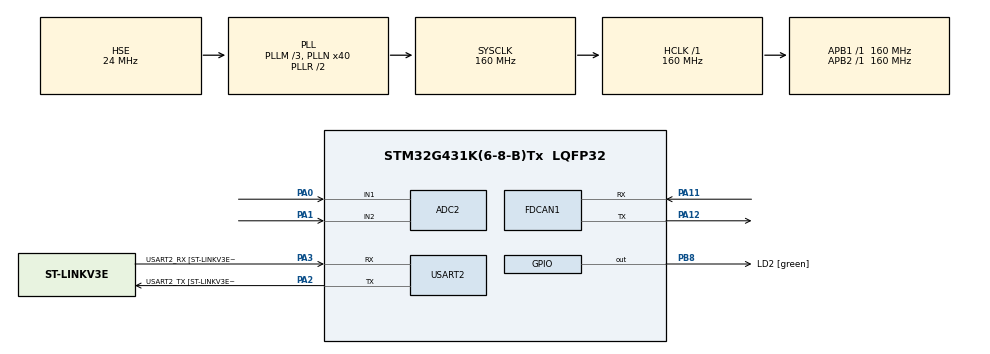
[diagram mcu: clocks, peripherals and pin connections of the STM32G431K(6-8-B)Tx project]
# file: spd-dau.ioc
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ADC2.Channel-0\#ChannelRegularConversion=ADC_CHANNEL_1
ADC2.Channel-1\#ChannelRegularConversion=ADC_CHANNEL_2
ADC2.ContinuousConvMode=ENABLE
ADC2.DMAContinuousRequests=ENABLE
ADC2.ExternalTrigConv=ADC_SOFTWARE_START
ADC2.NbrOfConversion=2
ADC2.NbrOfConversionFlag=1
ADC2.OffsetNumber-0\#ChannelRegularConversion=ADC_OFFSET_NONE
ADC2.OffsetNumber-1\#ChannelRegularConversion=ADC_OFFSET_NONE
ADC2.Rank-0\#ChannelRegularConversion=1
ADC2.Rank-1\#ChannelRegularConversion=2
ADC2.SamplingTime-0\#ChannelRegularConversion=ADC_SAMPLETIME_2CYCLES_5
ADC2.SamplingTime-1\#ChannelRegularConversion=ADC_SAMPLETIME_2CYCLES_5
Dma.ADC2.0.Direction=DMA_PERIPH_TO_MEMORY
Dma.ADC2.0.EventEnable=DISABLE
Dma.ADC2.0.Instance=DMA1_Channel1
Dma.ADC2.0.MemDataAlignment=DMA_MDATAALIGN_HALFWORD
Dma.ADC2.0.MemInc=DMA_MINC_ENABLE
Dma.ADC2.0.Mode=DMA_CIRCULAR
Dma.ADC2.0.PeriphDataAlignment=DMA_PDATAALIGN_HALFWORD
Dma.ADC2.0.PeriphInc=DMA_PINC_DISABLE
Dma.ADC2.0.Polarity=HAL_DMAMUX_REQ_GEN_RISING
Dma.ADC2.0.Priority=DMA_PRIORITY_LOW
Dma.ADC2.0.RequestNumber=1
Dma.ADC2.0.SignalID=NONE
Dma.ADC2.0.SyncEnable=DISABLE
Dma.ADC2.0.SyncPolarity=HAL_DMAMUX_SYNC_NO_EVENT
Dma.ADC2.0.SyncRequestNumber=1
Dma.ADC2.0.SyncSignalID=NONE
Dma.Request0=ADC2
FDCAN1.CalculateBaudRateNominal=500000
FDCAN1.CalculateTimeBitNominal=2000
FDCAN1.CalculateTimeQuantumNominal=6.25
FDCAN1.ClockDivider=FDCAN_CLOCK_DIV1
FDCAN1.FrameFormat=FDCAN_FRAME_CLASSIC
FDCAN1.Mode=FDCAN_MODE_NORMAL
FDCAN1.NominalPrescaler=1
FDCAN1.NominalTimeSeg1=239
FDCAN1.NominalTimeSeg2=80
FDCAN1.StdFiltersNbr=1
Mcu.Family=STM32G4
Mcu.Name=STM32G431K(6-8-B)Tx
Mcu.Package=LQFP32
NVIC.DMA1_Channel1_IRQn=true\:0\:0\:false\:false\:true\:false\:true\:true
NVIC.FDCAN1_IT0_IRQn=true\:0\:0\:false\:false\:true\:true\:true\:true
NVIC.PriorityGroup=NVIC_PRIORITYGROUP_4
NVIC.USART2_IRQn=true\:0\:0\:false\:false\:true\:true\:true\:true
PA0.Mode=IN1-Single-Ended
PA0.Signal=ADC2_IN1
PA1.Mode=IN2-Single-Ended
PA1.Signal=ADC2_IN2
PA11.Mode=FDCAN_Activate
PA11.Signal=FDCAN1_RX
PA12.Mode=FDCAN_Activate
PA12.Signal=FDCAN1_TX
PA13.GPIO_Label=T_SWDIO
PA13.Mode=Serial_Wire
PA13.Signal=SYS_JTMS-SWDIO
PA14.GPIO_Label=T_SWCLK
PA14.Mode=Serial_Wire
PA14.Signal=SYS_JTCK-SWCLK
PA2.GPIO_Label=USART2_TX [ST-LINKV3E_VCP_RX]
PA2.Mode=Asynchronous
PA2.Signal=USART2_TX
PA3.GPIO_Label=USART2_RX [ST-LINKV3E_VCP_TX]
PA3.Mode=Asynchronous
PA3.Signal=USART2_RX
PB3.GPIO_Label=T_SWO
PB3.Signal=SYS_JTDO-SWO
PB8-BOOT0.GPIO_Label=LD2 [green]
PB8-BOOT0.Signal=GPIO_Output
PF0-OSC_IN.Mode=HSE-External-Oscillator
PF0-OSC_IN.Signal=RCC_OSC_IN
PF1-OSC_OUT.Mode=HSE-External-Oscillator
PF1-OSC_OUT.Signal=RCC_OSC_OUT
ProjectManager.HeapSize=0x200
ProjectManager.StackSize=0x400
ProjectManager.TargetToolchain=STM32CubeIDE
RCC.ADC12Freq_Value=160000000
RCC.AHBFreq_Value=160000000
RCC.APB1Freq_Value=160000000
RCC.APB1TimFreq_Value=160000000
RCC.APB2Freq_Value=160000000
RCC.APB2TimFreq_Value=160000000
RCC.CortexFreq_Value=160000000
RCC.EXTERNAL_CLOCK_VALUE=12288000
RCC.HCLKFreq_Value=160000000
RCC.HSE_VALUE=24000000
RCC.HSI48_VALUE=48000000
RCC.HSI_VALUE=16000000
RCC.LSE_VALUE=32768
RCC.PLLM=RCC_PLLM_DIV3
RCC.PLLN=40
RCC.PLLSourceVirtual=RCC_PLLSOURCE_HSE
RCC.SYSCLKFreq_VALUE=160000000
RCC.SYSCLKSource=RCC_SYSCLKSOURCE_PLLCLK
RCC.USBFreq_Value=160000000
RCC.VCOOutputFreq_Value=320000000
USART2.VirtualMode-Asynchronous=VM_ASYNC
USART2.WordLength=WORDLENGTH_8B
VP_SYS_VS_DBSignals.Mode=DisableDeadBatterySignals
board=NUCLEO-G431KB

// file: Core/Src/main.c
/* USER CODE BEGIN Header */
/**
  ******************************************************************************
  * @file           : main.c
  * @brief          : Main program body
  ******************************************************************************
  * @attention
  *
  * Copyright (c) 2024 STMicroelectronics.
  * All rights reserved.
  *
  * This software is licensed under terms that can be found in the LICENSE file
  * in the root directory of this software component.
  * If no LICENSE file comes with this software, it is provided AS-IS.
  *
  ******************************************************************************
  */
/* USER CODE END Header */
#include "main.h"

/* USER CODE BEGIN Includes */
#include <stdio.h>

/* USER CODE END Includes */

/* USER CODE BEGIN PD */
#define ADC_BUF_LEN 4096

/* USER CODE END PD */

ADC_HandleTypeDef hadc2;
DMA_HandleTypeDef hdma_adc2;

FDCAN_HandleTypeDef hfdcan1;

UART_HandleTypeDef huart2;

/* USER CODE BEGIN PV */
FDCAN_RxHeaderTypeDef RxHeader;
uint8_t RxData[8];
FDCAN_TxHeaderTypeDef TxHeader;
uint8_t TxData[8];

uint16_t adc_buf[ADC_BUF_LEN];

/* USER CODE END PV */

void SystemClock_Config(void);
static void MX_GPIO_Init(void);
static void MX_DMA_Init(void);
static void MX_USART2_UART_Init(void);
static void MX_FDCAN1_Init(void);
static void MX_ADC2_Init(void);
/* USER CODE BEGIN PFP */
static void FDCAN_Config(void);
static void LED_Display(uint8_t LedStatus);
/* USER CODE END PFP */

int main(void)
{

  /* MCU Configuration--------------------------------------------------------*/

  /* Reset of all peripherals, Initializes the Flash interface and the Systick. */
  HAL_Init();

  /* Configure the system clock */
  SystemClock_Config();

  /* Initialize all configured peripherals */
  MX_GPIO_Init();
  MX_DMA_Init();
  MX_USART2_UART_Init();
  MX_FDCAN1_Init();
  MX_ADC2_Init();
  /* USER CODE BEGIN 2 */

  /* Configure the FDCAN peripheral */
  FDCAN_Config();

  HAL_ADC_Start_DMA(&hadc2, (uint32_t*)adc_buf, ADC_BUF_LEN);

  printf("SPD-DAU started\n");

  /* USER CODE END 2 */

  /* Infinite loop */
  while (1)
  {

    /* USER CODE BEGIN 3 */
	//HAL_UART_Transmit(&huart2, (uint8_t*)"Hello,  world\n\r", 10, 1000);
	//HAL_UART_Transmit_IT(&huart2, (uint8_t*)"HelloIT,  world\n\r", 10);
	HAL_Delay(1000);

	/* Set the data to be transmitted */
	TxData[0] = 0x11;
	TxData[1] = 0xAD;

	/* Start the Transmission process */
	if (HAL_FDCAN_AddMessageToTxFifoQ(&hfdcan1, &TxHeader, TxData) != HAL_OK)
	{
	  /* Transmission request Error */
	  Error_Handler();
	}

	//HAL_GPIO_TogglePin(LD2_GPIO_Port, LD2_Pin);

  }
  /* USER CODE END 3 */
}

void SystemClock_Config(void)
{
  RCC_OscInitTypeDef RCC_OscInitStruct = {0};
  RCC_ClkInitTypeDef RCC_ClkInitStruct = {0};

  /** Configure the main internal regulator output voltage
  */
  HAL_PWREx_ControlVoltageScaling(PWR_REGULATOR_VOLTAGE_SCALE1_BOOST);

  /** Initializes the RCC Oscillators according to the specified parameters
  * in the RCC_OscInitTypeDef structure.
  */
  RCC_OscInitStruct.OscillatorType = RCC_OSCILLATORTYPE_HSE;
  RCC_OscInitStruct.HSEState = RCC_HSE_ON;
  RCC_OscInitStruct.PLL.PLLState = RCC_PLL_ON;
  RCC_OscInitStruct.PLL.PLLSource = RCC_PLLSOURCE_HSE;
  RCC_OscInitStruct.PLL.PLLM = RCC_PLLM_DIV3;
  RCC_OscInitStruct.PLL.PLLN = 40;
  RCC_OscInitStruct.PLL.PLLP = RCC_PLLP_DIV2;
  RCC_OscInitStruct.PLL.PLLQ = RCC_PLLQ_DIV2;
  RCC_OscInitStruct.PLL.PLLR = RCC_PLLR_DIV2;
  if (HAL_RCC_OscConfig(&RCC_OscInitStruct) != HAL_OK)
  {
    Error_Handler();
  }

  /** Initializes the CPU, AHB and APB buses clocks
  */
  RCC_ClkInitStruct.ClockType = RCC_CLOCKTYPE_HCLK|RCC_CLOCKTYPE_SYSCLK
                              |RCC_CLOCKTYPE_PCLK1|RCC_CLOCKTYPE_PCLK2;
  RCC_ClkInitStruct.SYSCLKSource = RCC_SYSCLKSOURCE_PLLCLK;
  RCC_ClkInitStruct.AHBCLKDivider = RCC_SYSCLK_DIV1;
  RCC_ClkInitStruct.APB1CLKDivider = RCC_HCLK_DIV1;
  RCC_ClkInitStruct.APB2CLKDivider = RCC_HCLK_DIV1;

  if (HAL_RCC_ClockConfig(&RCC_ClkInitStruct, FLASH_LATENCY_4) != HAL_OK)
  {
    Error_Handler();
  }
}

static void MX_ADC2_Init(void)
{

  ADC_ChannelConfTypeDef sConfig = {0};

  /** Common config
  */
  hadc2.Instance = ADC2;
  hadc2.Init.ClockPrescaler = ADC_CLOCK_SYNC_PCLK_DIV4;
  hadc2.Init.Resolution = ADC_RESOLUTION_12B;
  hadc2.Init.DataAlign = ADC_DATAALIGN_RIGHT;
  hadc2.Init.GainCompensation = 0;
  hadc2.Init.ScanConvMode = ADC_SCAN_ENABLE;
  hadc2.Init.EOCSelection = ADC_EOC_SINGLE_CONV;
  hadc2.Init.LowPowerAutoWait = DISABLE;
  hadc2.Init.ContinuousConvMode = ENABLE;
  hadc2.Init.NbrOfConversion = 2;
  hadc2.Init.DiscontinuousConvMode = DISABLE;
  hadc2.Init.ExternalTrigConv = ADC_SOFTWARE_START;
  hadc2.Init.ExternalTrigConvEdge = ADC_EXTERNALTRIGCONVEDGE_NONE;
  hadc2.Init.DMAContinuousRequests = ENABLE;
  hadc2.Init.Overrun = ADC_OVR_DATA_PRESERVED;
  hadc2.Init.OversamplingMode = DISABLE;
  if (HAL_ADC_Init(&hadc2) != HAL_OK)
  {
    Error_Handler();
  }

  /** Configure Regular Channel
  */
  sConfig.Channel = ADC_CHANNEL_1;
  sConfig.Rank = ADC_REGULAR_RANK_1;
  sConfig.SamplingTime = ADC_SAMPLETIME_2CYCLES_5;
  sConfig.SingleDiff = ADC_SINGLE_ENDED;
  sConfig.OffsetNumber = ADC_OFFSET_NONE;
  sConfig.Offset = 0;
  if (HAL_ADC_ConfigChannel(&hadc2, &sConfig) != HAL_OK)
  {
    Error_Handler();
  }

  /** Configure Regular Channel
  */
  sConfig.Channel = ADC_CHANNEL_2;
  sConfig.Rank = ADC_REGULAR_RANK_2;
  if (HAL_ADC_ConfigChannel(&hadc2, &sConfig) != HAL_OK)
  {
    Error_Handler();
  }

}

static void MX_FDCAN1_Init(void)
{

  hfdcan1.Instance = FDCAN1;
  hfdcan1.Init.ClockDivider = FDCAN_CLOCK_DIV1;
  hfdcan1.Init.FrameFormat = FDCAN_FRAME_CLASSIC;
  hfdcan1.Init.Mode = FDCAN_MODE_NORMAL;
  hfdcan1.Init.AutoRetransmission = DISABLE;
  hfdcan1.Init.TransmitPause = DISABLE;
  hfdcan1.Init.ProtocolException = DISABLE;
  hfdcan1.Init.NominalPrescaler = 1;
  hfdcan1.Init.NominalSyncJumpWidth = 1;
  hfdcan1.Init.NominalTimeSeg1 = 239;
  hfdcan1.Init.NominalTimeSeg2 = 80;
  hfdcan1.Init.DataPrescaler = 1;
  hfdcan1.Init.DataSyncJumpWidth = 1;
  hfdcan1.Init.DataTimeSeg1 = 1;
  hfdcan1.Init.DataTimeSeg2 = 1;
  hfdcan1.Init.StdFiltersNbr = 1;
  hfdcan1.Init.ExtFiltersNbr = 0;
  hfdcan1.Init.TxFifoQueueMode = FDCAN_TX_FIFO_OPERATION;
  if (HAL_FDCAN_Init(&hfdcan1) != HAL_OK)
  {
    Error_Handler();
  }

}

static void MX_USART2_UART_Init(void)
{

  huart2.Instance = USART2;
  huart2.Init.BaudRate = 115200;
  huart2.Init.WordLength = UART_WORDLENGTH_8B;
  huart2.Init.StopBits = UART_STOPBITS_1;
  huart2.Init.Parity = UART_PARITY_NONE;
  huart2.Init.Mode = UART_MODE_TX_RX;
  huart2.Init.HwFlowCtl = UART_HWCONTROL_NONE;
  huart2.Init.OverSampling = UART_OVERSAMPLING_16;
  huart2.Init.OneBitSampling = UART_ONE_BIT_SAMPLE_DISABLE;
  huart2.Init.ClockPrescaler = UART_PRESCALER_DIV1;
  huart2.AdvancedInit.AdvFeatureInit = UART_ADVFEATURE_NO_INIT;
  if (HAL_UART_Init(&huart2) != HAL_OK)
  {
    Error_Handler();
  }
  if (HAL_UARTEx_SetTxFifoThreshold(&huart2, UART_TXFIFO_THRESHOLD_1_8) != HAL_OK)
  {
    Error_Handler();
  }
  if (HAL_UARTEx_SetRxFifoThreshold(&huart2, UART_RXFIFO_THRESHOLD_1_8) != HAL_OK)
  {
    Error_Handler();
  }
  if (HAL_UARTEx_DisableFifoMode(&huart2) != HAL_OK)
  {
    Error_Handler();
  }

}

static void MX_DMA_Init(void)
{

  /* DMA controller clock enable */
  __HAL_RCC_DMAMUX1_CLK_ENABLE();
  __HAL_RCC_DMA1_CLK_ENABLE();

  /* DMA interrupt init */
  /* DMA1_Channel1_IRQn interrupt configuration */
  HAL_NVIC_SetPriority(DMA1_Channel1_IRQn, 0, 0);
  HAL_NVIC_EnableIRQ(DMA1_Channel1_IRQn);

}

static void MX_GPIO_Init(void)
{
  GPIO_InitTypeDef GPIO_InitStruct = {0};

  /* GPIO Ports Clock Enable */
  __HAL_RCC_GPIOF_CLK_ENABLE();
  __HAL_RCC_GPIOA_CLK_ENABLE();
  __HAL_RCC_GPIOB_CLK_ENABLE();

  /*Configure GPIO pin Output Level */
  HAL_GPIO_WritePin(LD2_GPIO_Port, LD2_Pin, GPIO_PIN_RESET);

  /*Configure GPIO pin : LD2_Pin */
  GPIO_InitStruct.Pin = LD2_Pin;
  GPIO_InitStruct.Mode = GPIO_MODE_OUTPUT_PP;
  GPIO_InitStruct.Pull = GPIO_NOPULL;
  GPIO_InitStruct.Speed = GPIO_SPEED_FREQ_LOW;
  HAL_GPIO_Init(LD2_GPIO_Port, &GPIO_InitStruct);

}

/* USER CODE BEGIN 4 */

/**
  * @brief  Configures the FDCAN.
  * @param  None
  * @retval None
  */
static void FDCAN_Config(void)
{
  FDCAN_FilterTypeDef sFilterConfig;

  /* Configure Rx filter */
  sFilterConfig.IdType = FDCAN_STANDARD_ID;
  sFilterConfig.FilterIndex = 0;
  sFilterConfig.FilterType = FDCAN_FILTER_MASK;
  sFilterConfig.FilterConfig = FDCAN_FILTER_TO_RXFIFO0;
  sFilterConfig.FilterID1 = 0x321;
  sFilterConfig.FilterID2 = 0x7F0;
  if (HAL_FDCAN_ConfigFilter(&hfdcan1, &sFilterConfig) != HAL_OK)
  {
    Error_Handler();
  }

  /* Configure global filter:
     Filter all remote frames with STD and EXT ID
     Reject non matching frames with STD ID and EXT ID */
  if (HAL_FDCAN_ConfigGlobalFilter(&hfdcan1, FDCAN_REJECT, FDCAN_REJECT, FDCAN_FILTER_REMOTE, FDCAN_FILTER_REMOTE) != HAL_OK)
  {
    Error_Handler();
  }

  /* Start the FDCAN module */
  if (HAL_FDCAN_Start(&hfdcan1) != HAL_OK)
  {
    Error_Handler();
  }

  if (HAL_FDCAN_ActivateNotification(&hfdcan1, FDCAN_IT_RX_FIFO0_NEW_MESSAGE, 0) != HAL_OK)
  {
    Error_Handler();
  }

  /* Prepare Tx Header */
  TxHeader.Identifier = 0x321;
  TxHeader.IdType = FDCAN_STANDARD_ID;
  TxHeader.TxFrameType = FDCAN_DATA_FRAME;
  TxHeader.DataLength = FDCAN_DLC_BYTES_2;
  TxHeader.ErrorStateIndicator = FDCAN_ESI_ACTIVE;
  TxHeader.BitRateSwitch = FDCAN_BRS_OFF;
  TxHeader.FDFormat = FDCAN_CLASSIC_CAN;
  TxHeader.TxEventFifoControl = FDCAN_NO_TX_EVENTS;
  TxHeader.MessageMarker = 0;
}

/**
  * @brief  Rx FIFO 0 callback.
  * @param  hfdcan: pointer to an FDCAN_HandleTypeDef structure that contains
  *         the configuration information for the specified FDCAN.
  * @param  RxFifo0ITs: indicates which Rx FIFO 0 interrupts are signalled.
  *         This parameter can be any combination of @arg FDCAN_Rx_Fifo0_Interrupts.
  * @retval None
  */
void HAL_FDCAN_RxFifo0Callback(FDCAN_HandleTypeDef *hfdcan, uint32_t RxFifo0ITs)
{
  if((RxFifo0ITs & FDCAN_IT_RX_FIFO0_NEW_MESSAGE) != RESET)
  {
    /* Retrieve Rx messages from RX FIFO0 */
    if (HAL_FDCAN_GetRxMessage(hfdcan, FDCAN_RX_FIFO0, &RxHeader, RxData) != HAL_OK)
    {
    	Error_Handler();
    }

    printf("@%d  ", (int)RxHeader.RxTimestamp);
    printf("%04X ", (unsigned int)RxHeader.Identifier);
    int i;
    for (i = 0; i < RxHeader.DataLength; i++) {
    	printf(" %02X", RxData[i]);
    }
    printf("\n");

    /* Display LEDx */
    if ((RxHeader.Identifier == 0x321) && (RxHeader.IdType == FDCAN_STANDARD_ID) && (RxHeader.DataLength == FDCAN_DLC_BYTES_2))
    {
    	LED_Display(RxData[0]);
      //ubKeyNumber = RxData[0];
    }
  }
}

void HAL_ADC_ConvHalfCpltCallback(ADC_HandleTypeDef* hadc)
{
	HAL_GPIO_WritePin(LD2_GPIO_Port, LD2_Pin, GPIO_PIN_SET);
}

void HAL_ADC_ConvCpltCallback(ADC_HandleTypeDef* hadc)
{
	HAL_GPIO_WritePin(LD2_GPIO_Port, LD2_Pin, GPIO_PIN_RESET);
}

/**
  * @brief  Turns ON/OFF the dedicated LED.
  * @param  LedStatus: LED number from 1 to 4
  * @retval None
  */
void LED_Display(uint8_t LedStatus)
{
}

int _write(int fd, char * ptr, int len)
{
  HAL_UART_Transmit(&huart2, (uint8_t *) ptr, len, HAL_MAX_DELAY);
  return len;
}

/* USER CODE END 4 */

void Error_Handler(void)
{
  __disable_irq();
  while (1)
  {
  }
}
